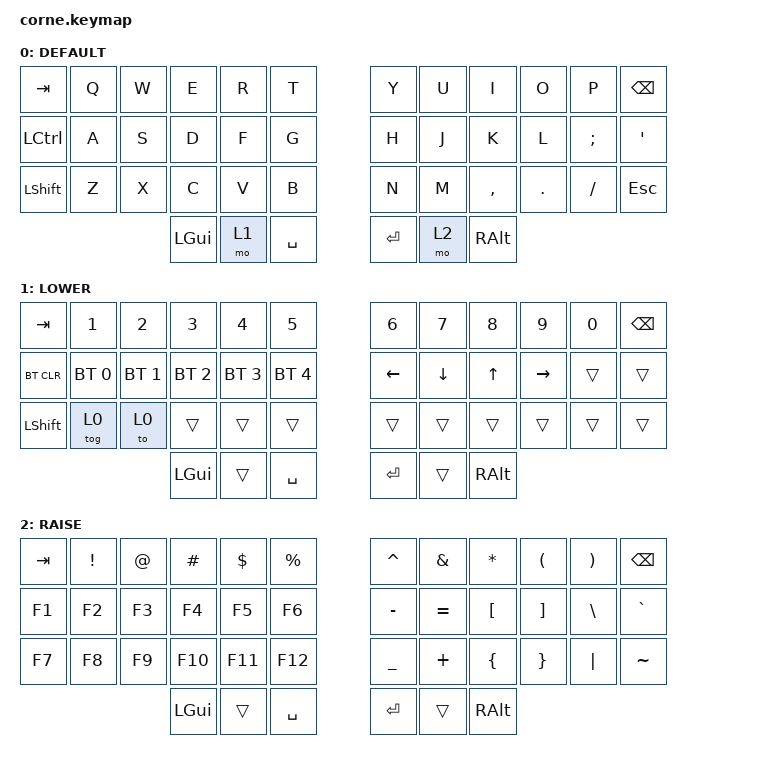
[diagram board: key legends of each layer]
/*
 * Copyright (c) 2020 The ZMK Contributors
 *
 * SPDX-License-Identifier: MIT
 */

#include <behaviors.dtsi>
#include <dt-bindings/zmk/bt.h>
#include <dt-bindings/zmk/keys.h>

/ {
    keymap {
        compatible = "zmk,keymap";

        DEFAULT {
            // -----------------------------------------------------------------------------------------
            // |  TAB |  Q  |  W  |  E  |  R  |  T  |   |  Y  |  U   |  I  |  O  |  P  | BSPC |
            // | CTRL |  A  |  S  |  D  |  F  |  G  |   |  H  |  J   |  K  |  L  |  ;  |  '   |
            // | SHFT |  Z  |  X  |  C  |  V  |  B  |   |  N  |  M   |  ,  |  .  |  /  | ESC  |
            //                    | GUI | LWR | SPC |   | ENT | RSE  | ALT |

            bindings = <
&kp TAB    &kp Q  &kp W  &kp E     &kp R  &kp T        &kp Y    &kp U  &kp I      &kp O    &kp P          &kp BSPC
&kp LCTRL  &kp A  &kp S  &kp D     &kp F  &kp G        &kp H    &kp J  &kp K      &kp L    &kp SEMICOLON  &kp SQT
&kp LSHFT  &kp Z  &kp X  &kp C     &kp V  &kp B        &kp N    &kp M  &kp COMMA  &kp DOT  &kp FSLH       &kp ESC
                         &kp LGUI  &mo 1  &kp SPACE    &kp RET  &mo 2  &kp RALT
            >;
        };

        LOWER {
            // -----------------------------------------------------------------------------------------
            // |  TAB |  1  |  2  |  3  |  4  |  5  |   |  6  |  7  |  8  |  9  |  0  | BSPC |
            // | BTCLR| BT1 | BT2 | BT3 | BT4 | BT5 |   | LFT | DWN |  UP | RGT |     |      |
            // | SHFT |     |     |     |     |     |   |     |     |     |     |     |      |
            //                    | GUI |     | SPC |   | ENT |     | ALT |

            bindings = <
&kp TAB     &kp N1        &kp N2        &kp N3        &kp N4        &kp N5          &kp N6    &kp N7    &kp N8    &kp N9     &kp N0  &kp BSPC
&bt BT_CLR  &bt BT_SEL 0  &bt BT_SEL 1  &bt BT_SEL 2  &bt BT_SEL 3  &bt BT_SEL 4    &kp LEFT  &kp DOWN  &kp UP    &kp RIGHT  &trans  &trans
&kp LSHFT   &tog 0        &to 0         &trans        &trans        &trans          &trans    &trans    &trans    &trans     &trans  &trans
                                        &kp LGUI      &trans        &kp SPACE       &kp RET   &trans    &kp RALT
            >;
        };

        RAISE {
            // -----------------------------------------------------------------------------------------
            // |  TAB |  !  |  @  |  #  |  $  |  %  |   |  ^  |  &  |  *  |  (  |  )  | BSPC |
            // | CTRL |     |     |     |     |     |   |  -  |  =  |  [  |  ]  |  \  |  `   |
            // | SHFT |     |     |     |     |     |   |  _  |  +  |  {  |  }  | "|" |  ~   |
            //                    | GUI |     | SPC |   | ENT |     | ALT |

            bindings = <
&kp TAB  &kp EXCL  &kp AT  &kp HASH  &kp DLLR  &kp PRCNT    &kp CARET  &kp AMPS   &kp ASTRK  &kp LPAR  &kp RPAR  &kp BSPC
&kp F1   &kp F2    &kp F3  &kp F4    &kp F5    &kp F6       &kp MINUS  &kp EQUAL  &kp LBKT   &kp RBKT  &kp BSLH  &kp GRAVE
&kp F7   &kp F8    &kp F9  &kp F10   &kp F11   &kp F12      &kp UNDER  &kp PLUS   &kp LBRC   &kp RBRC  &kp PIPE  &kp TILDE
                           &kp LGUI  &trans    &kp SPACE    &kp RET    &trans     &kp RALT
            >;
        };
    };

    conditional_layers { compatible = "zmk,conditional-layers"; };
};
